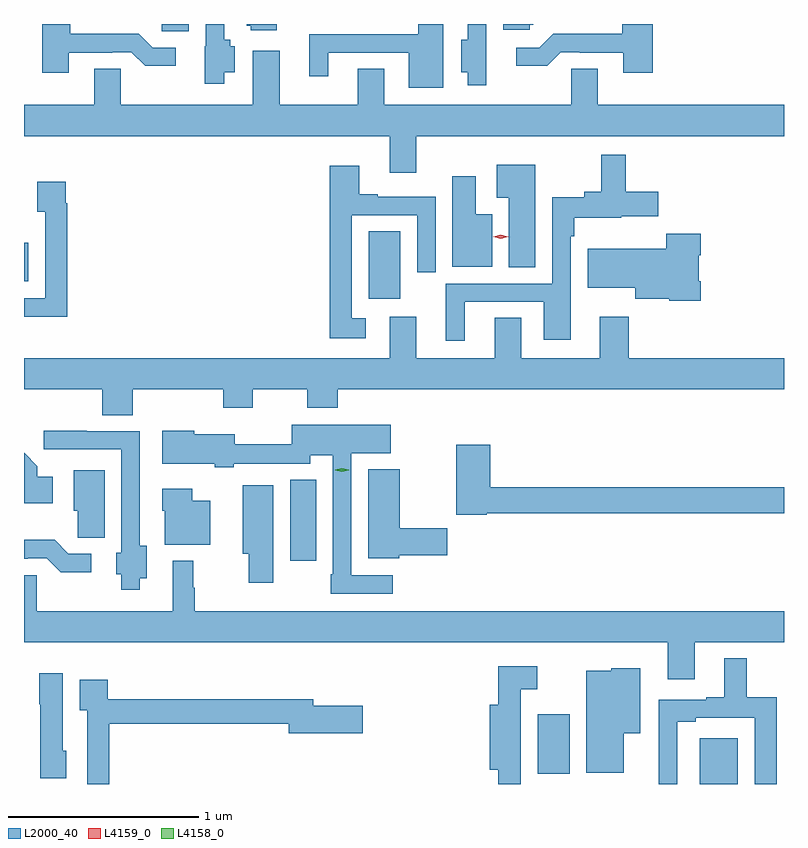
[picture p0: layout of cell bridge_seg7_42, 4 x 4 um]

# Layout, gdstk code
import gdstk
lib = gdstk.Library(unit=1e-6, precision=1e-09)
def R(c, l, rs):  # rectangles x0, y0, x1, y1
    for r in rs: c.add(gdstk.rectangle(r[:2], r[2:], *l))
def P(c, l, *ps):  # polygons
    for p in ps: c.add(gdstk.Polygon(p, *l))
L2000_40 = (2000, 40)
L4158_0 = (4158, 0)
L4159_0 = (4159, 0)

bridge_seg7_42 = lib.new_cell('bridge_seg7_42')
R(bridge_seg7_42, L2000_40, [(891.449,1041.162,891.649,1041.403), (890.597,1041.217,890.764,1041.529), (889.292,1042.338,889.429,1042.763), (889.706,1043.715,889.873,1044.071), (887.892,1043.807,887.914,1044.01), (888.618,1045.123,888.76,1045.162)])
P(bridge_seg7_42, L2000_40, [(891.2,1045.162),(891.04,1045.162),(891.04,1045.111),(890.677,1045.111),(890.604,1045.038),(890.484,1045.038),(890.484,1044.941),(890.645,1044.941),(890.718,1045.014),(890.818,1045.014),(890.818,1045.011),(891.047,1045.011),(891.047,1044.906),(891.2,1044.906)],
  [(890.553,1045.158),(890.572,1045.158),(890.572,1045.162),(890.414,1045.162),(890.414,1045.131),(890.553,1045.131)],
  [(888.127,1045.011),(888.356,1045.011),(888.356,1045.014),(888.456,1045.014),(888.529,1044.941),(888.691,1044.941),(888.691,1045.038),(888.57,1045.038),(888.497,1045.111),(888.135,1045.111),(888.135,1045.162),(887.987,1045.162),(887.987,1044.906),(888.127,1044.906)],
  [(889.222,1045.162),(889.064,1045.162),(889.064,1045.152),(889.086,1045.152),(889.086,1045.13),(889.222,1045.13)],
  [(888.946,1044.908),(889,1044.908),(889,1045.044),(888.978,1045.044),(888.978,1045.079),(888.945,1045.079),(888.945,1045.162),(888.849,1045.162),(888.849,1045.044),(888.842,1045.044),(888.842,1044.848),(888.946,1044.848)],
  [(890.098,1045.162),(889.968,1045.162),(889.968,1045.107),(889.394,1045.107),(889.394,1044.888),(889.492,1044.888),(889.492,1045.011),(889.916,1045.011),(889.916,1044.827),(890.098,1044.827)],
  [(890.326,1045.062),(890.325,1045.062),(890.325,1045.162),(890.228,1045.162),(890.228,1045.079),(890.192,1045.079),(890.192,1044.908),(890.228,1044.908),(890.228,1044.84),(890.326,1044.84)],
  [(889.957,1044.572),(891.892,1044.572),(891.892,1044.736),(890.911,1044.736),(890.911,1044.926),(890.772,1044.926),(890.772,1044.736),(889.789,1044.736),(889.789,1044.926),(889.649,1044.926),(889.649,1044.736),(889.237,1044.736),(889.237,1045.021),(889.097,1045.021),(889.097,1044.736),(888.402,1044.736),(888.402,1044.926),(888.263,1044.926),(888.263,1044.736),(887.892,1044.736),(887.892,1044.572),(889.817,1044.572),(889.817,1044.378),(889.957,1044.378)],
  [(890.212,1043.7),(890.627,1043.7),(890.627,1043.499),(890.769,1043.499),(890.769,1044.044),(890.789,1044.044),(890.789,1044.141),(891.036,1044.141),(891.036,1044.149),(891.229,1044.149),(891.229,1044.279),(891.059,1044.279),(891.059,1044.475),(890.931,1044.475),(890.931,1044.279),(890.84,1044.279),(890.84,1044.25),(890.673,1044.25),(890.673,1043.796),(890.113,1043.796),(890.113,1043.496),(890.212,1043.496)],
  [(890.584,1044.421),(890.381,1044.421),(890.381,1044.248),(890.444,1044.248),(890.444,1043.881),(890.584,1043.881)],
  [(889.69,1043.613),(889.617,1043.613),(889.617,1044.156),(889.962,1044.156),(889.962,1043.856),(890.058,1043.856),(890.058,1044.252),(889.753,1044.252),(889.753,1044.265),(889.657,1044.265),(889.657,1044.415),(889.501,1044.415),(889.501,1043.507),(889.69,1043.507)],
  [(890.356,1044.16),(890.269,1044.16),(890.269,1044.361),(890.147,1044.361),(890.147,1043.885),(890.356,1043.885)],
  [(888.119,1044.218),(888.112,1044.218),(888.112,1044.331),(887.963,1044.331),(887.963,1044.175),(888.003,1044.175),(888.003,1043.718),(887.892,1043.718),(887.892,1043.621),(888.119,1043.621)],
  [(891.455,1043.809),(891.442,1043.809),(891.442,1043.945),(891.455,1043.945),(891.455,1044.058),(891.272,1044.058),(891.272,1043.98),(890.858,1043.98),(890.858,1043.774),(891.11,1043.774),(891.11,1043.717),(891.288,1043.717),(891.288,1043.705),(891.455,1043.705)],
  [(891.892,1043.404),(891.074,1043.404),(891.074,1043.62),(890.921,1043.62),(890.921,1043.404),(890.509,1043.404),(890.509,1043.615),(890.369,1043.615),(890.369,1043.404),(889.957,1043.404),(889.957,1043.62),(889.817,1043.62),(889.817,1043.404),(887.892,1043.404),(887.892,1043.24),(888.305,1043.24),(888.305,1043.104),(888.465,1043.104),(888.465,1043.24),(888.94,1043.24),(888.94,1043.141),(889.095,1043.141),(889.095,1043.24),(889.384,1043.24),(889.384,1043.141),(889.544,1043.141),(889.544,1043.24),(891.892,1043.24)],
  [(889.834,1042.26),(889.614,1042.26),(889.614,1042.904),(889.822,1042.904),(889.822,1043.053),(889.302,1043.053),(889.302,1042.949),(889,1042.949),(889,1043.002),(888.789,1043.002),(888.789,1043.02),(888.62,1043.02),(888.62,1042.847),(888.896,1042.847),(888.896,1042.828),(888.996,1042.828),(888.996,1042.848),(889.398,1042.848),(889.398,1042.892),(889.518,1042.892),(889.518,1042.267),(889.506,1042.267),(889.506,1042.164),(889.834,1042.164)],
  [(888.502,1042.244),(888.538,1042.244),(888.538,1042.415),(888.501,1042.415),(888.501,1043.019),(888.221,1043.019),(888.221,1043.022),(887.997,1043.022),(887.997,1042.923),(888.405,1042.923),(888.405,1042.38),(888.377,1042.38),(888.377,1042.266),(888.404,1042.266),(888.404,1042.184),(888.502,1042.184)],
  [(890.328,1042.588),(891.892,1042.588),(891.892,1042.724),(890.345,1042.724),(890.345,1042.948),(890.167,1042.948),(890.167,1042.58),(890.328,1042.58)],
  [(888.043,1042.78),(887.962,1042.78),(887.962,1042.835),(887.892,1042.905),(887.892,1042.64),(888.043,1042.64)],
  [(889.866,1042.366),(890.119,1042.366),(890.119,1042.507),(889.87,1042.507),(889.87,1042.819),(889.703,1042.819),(889.703,1042.349),(889.866,1042.349)],
  [(888.316,1042.813),(888.155,1042.813),(888.155,1042.599),(888.174,1042.599),(888.174,1042.459),(888.316,1042.459)],
  [(889.204,1042.735),(889.043,1042.735),(889.043,1042.373),(889.075,1042.373),(889.075,1042.221),(889.204,1042.221)],
  [(888.871,1042.654),(888.778,1042.654),(888.778,1042.717),(888.62,1042.717),(888.62,1042.599),(888.632,1042.599),(888.632,1042.421),(888.871,1042.421)],
  [(888.247,1042.374),(888.126,1042.374),(888.053,1042.447),(887.892,1042.447),(887.892,1042.347),(887.912,1042.347),(887.912,1042.35),(888.012,1042.35),(888.085,1042.277),(888.247,1042.277)],
  [(891.421,1041.908),(891.892,1041.908),(891.892,1042.072),(888.791,1042.072),(888.791,1042.196),(888.784,1042.196),(888.784,1042.336),(888.674,1042.336),(888.674,1042.072),(887.958,1042.072),(887.958,1042.262),(887.892,1042.262),(887.892,1041.908),(891.281,1041.908),(891.281,1041.714),(891.421,1041.714)],
  [(891.33,1041.49),(891.427,1041.49),(891.427,1041.51),(891.738,1041.51),(891.738,1041.162),(891.854,1041.162),(891.854,1041.619),(891.695,1041.619),(891.695,1041.823),(891.578,1041.823),(891.578,1041.619),(891.482,1041.619),(891.482,1041.606),(891.234,1041.606),(891.234,1041.332),(891.233,1041.332),(891.233,1041.162),(891.33,1041.162)],
  [(890.506,1041.662),(890.593,1041.662),(890.593,1041.781),(890.389,1041.781),(890.389,1041.58),(890.342,1041.58),(890.342,1041.236),(890.389,1041.236),(890.389,1041.162),(890.506,1041.162)],
  [(891.049,1041.428),(891.136,1041.428),(891.136,1041.772),(890.982,1041.772),(890.982,1041.757),(890.852,1041.757),(890.852,1041.221),(891.049,1041.221)],
  [(888.115,1041.336),(888.097,1041.336),(888.097,1041.745),(887.972,1041.745),(887.972,1041.582),(887.978,1041.582),(887.978,1041.192),(888.115,1041.192)],
  [(888.341,1041.478),(889.286,1041.478),(889.286,1041.43),(889.675,1041.43),(889.675,1041.573),(889.414,1041.573),(889.414,1041.607),(888.334,1041.607),(888.334,1041.712),(888.185,1041.712),(888.185,1041.551),(888.225,1041.551),(888.225,1041.162),(888.341,1041.162)])
P(bridge_seg7_42, L4158_0, [(889.565,1042.805),(889.53,1042.814),(889.53,1042.815),(889.53,1042.815),(889.565,1042.825),(889.6,1042.815),(889.6,1042.815),(889.6,1042.814)])
P(bridge_seg7_42, L4159_0, [(890.401,1044.032),(890.361,1044.041),(890.36,1044.042),(890.361,1044.042),(890.401,1044.052),(890.441,1044.043),(890.442,1044.043),(890.441,1044.043)])

lib.write_gds('bridge_seg7_42.gds')
